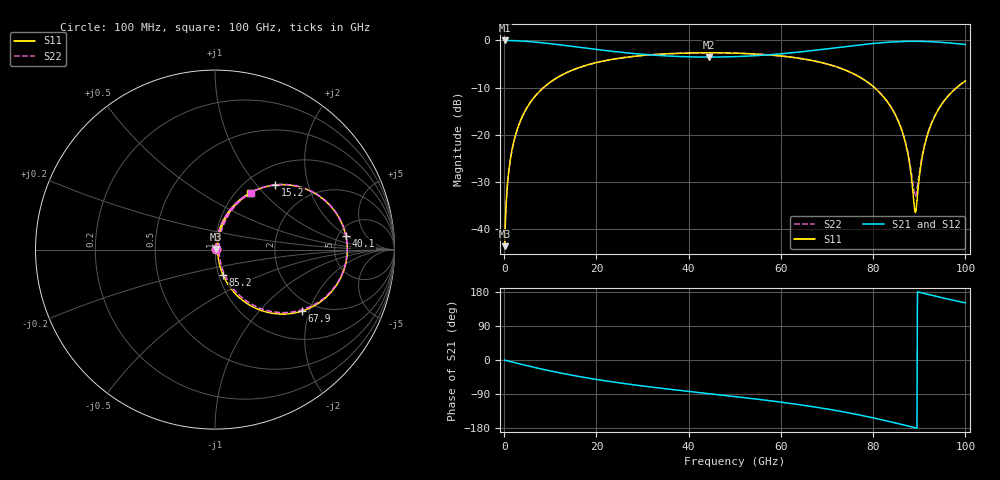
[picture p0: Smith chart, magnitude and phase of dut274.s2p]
! Touchstone file exported from HFSS 2026.1.0
!  File:  C:/ffzhzh/LocalFiles/Ansys_Project_Files/temp_train_RDL_274_1783501906_55944.aedt
!  Generated:  05:13:20 PM Jul  8, 2026
!  Design:  RDL
!  Project:  temp_train_RDL_274_1783501906_55944
! Variables:
!  h_bsmrdl = 2um
!  h_ox = 20um
!  h_rdl = 5um
!  h_sub = 80um
!  h_tmrdl = 4.46um
!  h_tsv = 80um
!  h_via = 3um
!  l_bsmrdl = 300um
!  l_sub = 1079.48um
!  l_tmrdl = 679.48um
!  m_sub = 200um
!  pitch = 55.25um
!  r_tsv = 6um
!  s_tmrdl = 10um
!  w_bsmrdl = 18um
!  w_sub = 500um
!  w_tmrdl = 10.35um
!  x_tsv_center1 = 684.655um
!  x_tsv_center2 = 1002.655um
!  x_tsv_center3 = 1692.485um
!  x_tsv_center4 = 2010.485um
!  x_tsv_center5 = 2700.315um
!  x_tsv_center6 = 3018.315um
# GHz S MA R 50.000000
! Terminal data exported
! Port[1] = TM_RDL1_1_T1
! Port[2] = TM_RDL1_1_T2
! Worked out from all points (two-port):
!   1000 points, 100 MHz to 100 GHz, reference 50 ohm
!   highest |S21| = -0.05 dB at 100 MHz (marker M1); lowest = -3.6 dB at 44.4 GHz (marker M2)
!   |S21| within 3 dB of the highest: start of sweep to 30.96 GHz; 57.81 GHz to end of sweep
!   lowest |S11| = -43.5 dB at 100 MHz (marker M3), VSWR 1.01, Z = 50.5 + j0.418 ohm
!   |S11| at or under -10 dB: start of sweep to 8.542 GHz; 80.26 GHz to 98.12 GHz (17.86 GHz wide, 20 % of centre)
!   |S22| runs from -43.5 to -2.7 dB; largest |S21 - S12| = 1.8e-14
!   S11 on the Smith chart (normalised r, x): 100 MHz: 1.01, +0.01; 15.2 GHz: 1.33, +1.26; 40.1 GHz: 5.84, +1.93; 67.9 GHz: 1.70, -1.80; 85.2 GHz: 1.05, -0.30; 100 GHz: 1.16, +0.85
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0.1  0.006656 38.4  0.9948 -0.3  0.9948 -0.3  0.006656 38.4
! Gamma 0 0 0 0
! Port Impedance 50 0 50 0
0.8  0.03319 77.6  0.9938 -2.5  0.9938 -2.5  0.03319 77.6
1.4  0.0571 79.6  0.9924 -4.3  0.9924 -4.3  0.0571 79.6
3.7  0.1471 75.7  0.9815 -11.3  0.9815 -11.3  0.1471 75.8
8.2  0.3054 63.8  0.941 -24.0  0.941 -24.0  0.3054 63.9
15.2  0.4922 47.0  0.8565 -41.3  0.8565 -41.3  0.4921 47.2
16.8  0.5249 43.6  0.8369 -44.8  0.8369 -44.8  0.5249 43.8
33.4  0.7103 15.2  0.6907 -73.6  0.6907 -73.6  0.7103 15.6
40.1  0.733 6.0  0.6678 -83.0  0.6678 -83.0  0.7329 6.5
44.4  0.737 0.3  0.6637 -88.9  0.6637 -88.9  0.737 0.8
50.1  0.7304 -7.4  0.671 -96.6  0.671 -96.6  0.7303 -6.7
66.7  0.6114 -32.9  0.7764 -122.7  0.7764 -122.7  0.6113 -31.9
67.9  0.5945 -35.1  0.7888 -125.0  0.7888 -125.0  0.5944 -34.1
77.2  0.4048 -54.7  0.8947 -145.5  0.8947 -145.5  0.4048 -53.1
83.4  0.2128 -69.1  0.9539 -162.0  0.9539 -162.0  0.2131 -66.6
85.2  0.1487 -72.5  0.9647 -167.2  0.9647 -167.2  0.1493 -69.1
87.3  0.07163 -72.3  0.9723 -173.3  0.9723 -173.3  0.07319 -66.0
89.2  0.01509 7.0  0.9739 -179.0  0.9739 -179.0  0.02238 6.3
90.9  0.06771 72.3  0.9712 176.0  0.9712 176.0  0.07001 67.3
92.7  0.1336 73.5  0.964 170.8  0.964 170.8  0.1349 71.2
95.8  0.2421 67.7  0.9428 162.0  0.9428 162.0  0.2429 66.8
100  0.3711 57.9  0.9011 150.8  0.9011 150.8  0.3718 57.7
